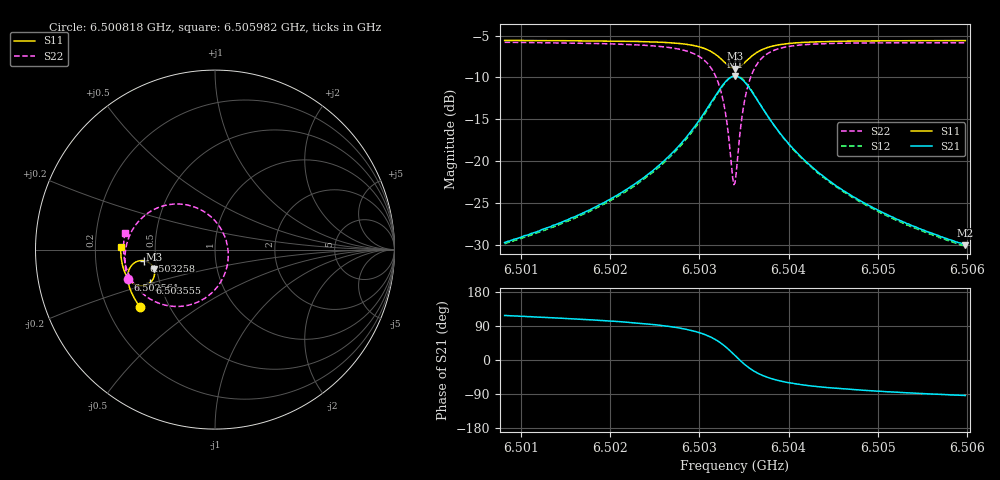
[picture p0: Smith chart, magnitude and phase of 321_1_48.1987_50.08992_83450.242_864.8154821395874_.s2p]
#  HZ  S  RI  R  50.00
! Rohde & Schwarz Vector Network Analyzer
! Rohde-Schwarz,ZNB20-2Port,1311601062101988,3.16
! Created: UTC 3/20/2024, 11:50:23 AM
! freq[Hz]  re:S11  im:S11  re:S21  im:S21  re:S12  im:S12  re:S22  im:S22
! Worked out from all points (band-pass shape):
!   401 points, 6.500818 GHz to 6.505982 GHz, reference 50 ohm
!   highest |S21| = -9.83 dB at 6.5034 GHz (marker M1); lowest = -30.1 dB at 6.505982 GHz (marker M2)
!   |S21| within 3 dB of the highest: 6.503141 GHz to 6.503658 GHz (516.8 kHz wide, 0.00795 % of centre)
!   lowest |S11| = -8.9 dB at 6.5034 GHz (marker M3), VSWR 2.11, Z = 24.1 - j6.1 ohm
!   |S11| at or under -10 dB: nowhere
!   |S22| runs from -22.8 to -5.8 dB; largest |S21 - S12| = 0.011
!   S11 on the Smith chart (normalised r, x): 6.500818 GHz: 0.34, -0.30; 6.502561 GHz: 0.33, -0.15; 6.503258 GHz: 0.43, -0.06; 6.503555 GHz: 0.44, -0.20; 6.505982 GHz: 0.31, +0.01
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6.5008175e9  -0.4202 -0.3174  -0.0151 0.0289  -0.0133 0.0291  -0.4858 -0.1661
6.5016827e9  -0.4583 -0.2546  -0.0145 0.0463  -0.0122 0.046  -0.5012 -0.0762
6.5021604e9  -0.4755 -0.213  -0.0118 0.0654  -0.00893 0.0643  -0.4993 -0.01
6.5025478e9  -0.4852 -0.1713  -0.00304 0.0942  0.000376 0.0919  -0.4813 0.0648
6.5025607e9  -0.4854 -0.1696  -0.00264 0.0956  0.00106 0.0933  -0.4801 0.0679
6.5028061e9  -0.4849 -0.1344  0.0154 0.1284  0.0192 0.1246  -0.4422 0.1372
6.5029868e9  -0.4736 -0.1012  0.0497 0.1642  0.0529 0.1588  -0.3745 0.203
6.5031547e9  -0.4393 -0.0682  0.1265 0.197  0.1278 0.1908  -0.2335 0.2535
6.503258e9  -0.3972 -0.0616  0.2109 0.1884  0.2112 0.1829  -0.0869 0.2256
6.5033096e9  -0.372 -0.0699  0.2585 0.1606  0.2595 0.156  -0.00778 0.1689
6.5033742e9  -0.3459 -0.096  0.3055 0.098  0.3079 0.0929  0.0627 0.0484
6.5034e9  -0.3397 -0.1102  0.3155 0.0662  0.3183 0.0604  0.0733 -0.0103
6.5034129e9  -0.3377 -0.1178  0.318 0.0499  0.3212 0.0436  0.0739 -0.0403
6.5034904e9  -0.3437 -0.1617  0.3011 -0.043  0.3032 -0.0527  0.0167 -0.2025
6.503555e9  -0.3646 -0.187  0.2593 -0.096  0.2582 -0.1069  -0.0776 -0.2833
6.5036583e9  -0.4034 -0.2016  0.1862 -0.1315  0.1811 -0.1408  -0.2242 -0.3166
6.5038261e9  -0.4486 -0.1919  0.1065 -0.1287  0.0996 -0.1336  -0.3682 -0.2711
6.5040069e9  -0.4757 -0.1707  0.0628 -0.1092  0.0568 -0.1114  -0.4388 -0.2076
6.5042651e9  -0.4962 -0.1406  0.0334 -0.0858  0.0288 -0.0861  -0.4817 -0.1363
6.5046783e9  -0.5124 -0.0984  0.0141 -0.0619  0.0107 -0.0615  -0.5044 -0.0579
6.5051303e9  -0.5211 -0.0571  0.00499 -0.0468  0.00273 -0.0463  -0.5096 0.00379
6.5059825e9  -0.5258 0.0147  -0.002 -0.0313  -0.00347 -0.0308  -0.5014 0.0923
